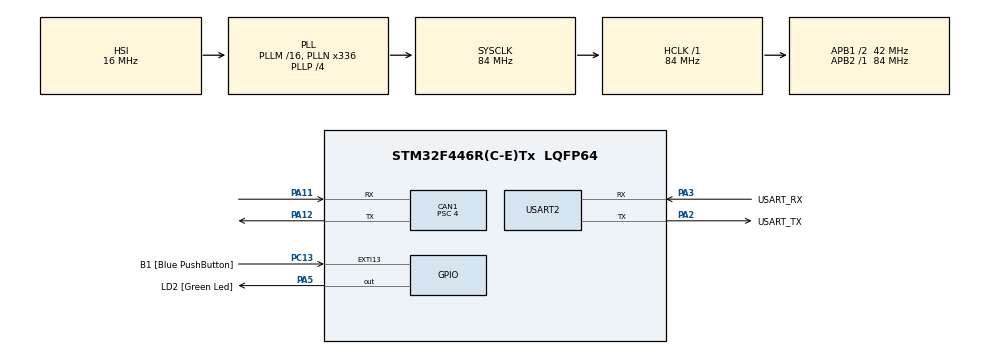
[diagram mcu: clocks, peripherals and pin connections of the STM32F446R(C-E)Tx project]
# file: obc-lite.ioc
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ADC1.Channel-0\#ChannelRegularConversion=ADC_CHANNEL_TEMPSENSOR
ADC1.Channel-1\#ChannelRegularConversion=ADC_CHANNEL_TEMPSENSOR
ADC1.EnableAnalogWatchDog=true
ADC1.ITMode=ENABLE
ADC1.NbrOfConversion=2
ADC1.NbrOfConversionFlag=1
ADC1.Rank-0\#ChannelRegularConversion=1
ADC1.Rank-1\#ChannelRegularConversion=2
ADC1.SamplingTime-0\#ChannelRegularConversion=ADC_SAMPLETIME_3CYCLES
ADC1.SamplingTime-1\#ChannelRegularConversion=ADC_SAMPLETIME_3CYCLES
ADC1.ScanConvMode=ENABLE
ADC1.WatchdogChannel=ADC_CHANNEL_TEMPSENSOR
ADC1.master=1
CAN1.BS1=CAN_BS1_16TQ
CAN1.BS2=CAN_BS2_4TQ
CAN1.CalculateBaudRate=500000
CAN1.CalculateTimeBit=2000
CAN1.CalculateTimeQuantum=95.23809523809524
CAN1.Mode=CAN_MODE_LOOPBACK
CAN1.Prescaler=4
Mcu.Family=STM32F4
Mcu.Name=STM32F446R(C-E)Tx
Mcu.Package=LQFP64
NVIC.CAN1_RX0_IRQn=true\:0\:0\:false\:false\:true\:true\:true\:true
NVIC.PriorityGroup=NVIC_PRIORITYGROUP_0
PA11.GPIO_PuPd=GPIO_PULLUP
PA11.Mode=CAN_Activate
PA11.Signal=CAN1_RX
PA12.Mode=CAN_Activate
PA12.Signal=CAN1_TX
PA13.GPIO_Label=TMS
PA13.Mode=Serial_Wire
PA13.Signal=SYS_JTMS-SWDIO
PA14.GPIO_Label=TCK
PA14.Mode=Serial_Wire
PA14.Signal=SYS_JTCK-SWCLK
PA2.GPIO_Label=USART_TX
PA2.Mode=Asynchronous
PA2.Signal=USART2_TX
PA3.GPIO_Label=USART_RX
PA3.Mode=Asynchronous
PA3.Signal=USART2_RX
PA5.GPIO_Label=LD2 [Green Led]
PA5.Signal=GPIO_Output
PB3.GPIO_Label=SWO
PB3.Signal=SYS_JTDO-SWO
PC13.GPIO_Label=B1 [Blue PushButton]
PC13.GPIO_ModeDefaultEXTI=GPIO_MODE_IT_FALLING
PC13.Signal=GPXTI13
PC14-OSC32_IN.Mode=LSE-External-Oscillator
PC14-OSC32_IN.Signal=RCC_OSC32_IN
PC15-OSC32_OUT.Mode=LSE-External-Oscillator
PC15-OSC32_OUT.Signal=RCC_OSC32_OUT
PH0-OSC_IN.Mode=HSE-External-Oscillator
PH0-OSC_IN.Signal=RCC_OSC_IN
PH1-OSC_OUT.Mode=HSE-External-Oscillator
PH1-OSC_OUT.Signal=RCC_OSC_OUT
ProjectManager.HeapSize=0x200
ProjectManager.StackSize=0x400
ProjectManager.TargetToolchain=STM32CubeIDE
RCC.48MHZClocksFreq_Value=84000000
RCC.AHBFreq_Value=84000000
RCC.APB1CLKDivider=RCC_HCLK_DIV2
RCC.APB1Freq_Value=42000000
RCC.APB1TimFreq_Value=84000000
RCC.APB2Freq_Value=84000000
RCC.APB2TimFreq_Value=84000000
RCC.CortexFreq_Value=84000000
RCC.FLatency-AdvancedSettings=FLASH_LATENCY_2
RCC.HCLKFreq_Value=84000000
RCC.HSE_VALUE=8000000
RCC.HSI_VALUE=16000000
RCC.PLLN=336
RCC.PLLP=RCC_PLLP_DIV4
RCC.SYSCLKFreq_VALUE=84000000
RCC.SYSCLKSource=RCC_SYSCLKSOURCE_PLLCLK
RCC.USBFreq_Value=168000000
RCC.VCOOutputFreq_Value=336000000
USART2.VirtualMode=VM_ASYNC
VP_ADC1_TempSens_Input.Mode=IN-TempSens
VP_ADC1_Vref_Input.Mode=IN-Vrefint
board=NUCLEO-F446RE

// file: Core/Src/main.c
/* USER CODE BEGIN Header */
/**
  ******************************************************************************
  * @file           : main.c
  * @brief          : Main program body
  ******************************************************************************
  * @attention
  *
  * Copyright (c) 2026 STMicroelectronics.
  * All rights reserved.
  *
  * This software is licensed under terms that can be found in the LICENSE file
  * in the root directory of this software component.
  * If no LICENSE file comes with this software, it is provided AS-IS.
  *
  ******************************************************************************
  */
/* USER CODE END Header */
#include "main.h"

/* USER CODE BEGIN Includes */
#include <stdio.h>
#include <string.h>
/* USER CODE END Includes */

ADC_HandleTypeDef hadc1;

CAN_HandleTypeDef hcan1;

UART_HandleTypeDef huart2;

/* USER CODE BEGIN PV */
CAN_TxHeaderTypeDef TxHeader; //Header containing the information of the transmitted frame
CAN_RxHeaderTypeDef RxHeader; //Header containing the information of the received frame
uint8_t TxData[8] = {0}; //buffer of data to send
uint8_t RxData[8]; //buffer of received data
uint32_t TxMailBox; //the number of mail boxes that transmitted the Tx message
/* USER CODE END PV */

void SystemClock_Config(void);
static void MX_GPIO_Init(void);
static void MX_USART2_UART_Init(void);
static void MX_ADC1_Init(void);
static void MX_CAN1_Init(void);

/* USER CODE BEGIN 0 */
//Parameters from STM32F446RE Datasheet
#define TEMP_AVG_SLOPE 0.0025
#define TEMP_V25 0.76
#define TEMP_VSENSE 3.3/4096

volatile uint16_t temperature_adc_value = 0;
volatile float temperature_in_c = 0.0;

void HAL_ADC_ConvCpltCallback(ADC_HandleTypeDef* hadc) {
	temperature_adc_value = HAL_ADC_GetValue(hadc);
	temperature_in_c = ((TEMP_VSENSE * temperature_adc_value - TEMP_V25) / TEMP_AVG_SLOPE) + 25;
	HAL_ADC_Start_IT(&hadc1);
}
/* USER CODE END 0 */

int main(void)
{

  /* MCU Configuration--------------------------------------------------------*/

  /* Reset of all peripherals, Initializes the Flash interface and the Systick. */
  HAL_Init();

  /* Configure the system clock */
  SystemClock_Config();

  /* Initialize all configured peripherals */
  MX_GPIO_Init();
  MX_USART2_UART_Init();
  MX_ADC1_Init();
  MX_CAN1_Init();
  /* USER CODE BEGIN 2 */
  TxHeader.StdId = 0x123;
  TxHeader.RTR = CAN_RTR_DATA;
  TxHeader.IDE = CAN_ID_STD;
  TxHeader.DLC = 8;
  TxHeader.TransmitGlobalTime = DISABLE;
  TxData[0] = 0;
  TxData[7] = 0xFF;
  if (HAL_ADC_Start_IT(&hadc1) != HAL_OK) {
    Error_Handler();
  }

  /* USER CODE END 2 */

  /* Infinite loop */
  /* USER CODE BEGIN WHILE */
//  char output_buffer[128] = {0};
  uint32_t print_tick = HAL_GetTick();
//
  while (1)
  {
//	  if (HAL_GetTick() - print_tick >= 1000) {
//		  sprintf(output_buffer, "temperature: %f\r\n", temperature_in_c);
//		  size_t size = strlen(output_buffer);
//		  HAL_UART_Transmit(&huart2, (uint8_t*)output_buffer, size, 1000);
//		  memset(output_buffer, 0, 128);
//		  print_tick = HAL_GetTick();
//	  }

	  if (HAL_GetTick() - print_tick >= 1000) {
		  TxData[0] = temperature_in_c;
		  while(HAL_CAN_GetTxMailboxesFreeLevel(&hcan1) == 0); //wait till Tx Mailbox is free
		  if (HAL_CAN_AddTxMessage(&hcan1, &TxHeader, TxData, &TxMailBox) != HAL_OK) {
		  		  Error_Handler();
		  	  }
		  print_tick = HAL_GetTick();
	  }

    /* USER CODE END WHILE */

  }
}

void SystemClock_Config(void)
{
  RCC_OscInitTypeDef RCC_OscInitStruct = {0};
  RCC_ClkInitTypeDef RCC_ClkInitStruct = {0};

  /** Configure the main internal regulator output voltage
  */
  __HAL_RCC_PWR_CLK_ENABLE();
  __HAL_PWR_VOLTAGESCALING_CONFIG(PWR_REGULATOR_VOLTAGE_SCALE3);

  /** Initializes the RCC Oscillators according to the specified parameters
  * in the RCC_OscInitTypeDef structure.
  */
  RCC_OscInitStruct.OscillatorType = RCC_OSCILLATORTYPE_HSI;
  RCC_OscInitStruct.HSIState = RCC_HSI_ON;
  RCC_OscInitStruct.HSICalibrationValue = RCC_HSICALIBRATION_DEFAULT;
  RCC_OscInitStruct.PLL.PLLState = RCC_PLL_ON;
  RCC_OscInitStruct.PLL.PLLSource = RCC_PLLSOURCE_HSI;
  RCC_OscInitStruct.PLL.PLLM = 16;
  RCC_OscInitStruct.PLL.PLLN = 336;
  RCC_OscInitStruct.PLL.PLLP = RCC_PLLP_DIV4;
  RCC_OscInitStruct.PLL.PLLQ = 2;
  RCC_OscInitStruct.PLL.PLLR = 2;
  if (HAL_RCC_OscConfig(&RCC_OscInitStruct) != HAL_OK)
  {
    Error_Handler();
  }

  /** Initializes the CPU, AHB and APB buses clocks
  */
  RCC_ClkInitStruct.ClockType = RCC_CLOCKTYPE_HCLK|RCC_CLOCKTYPE_SYSCLK
                              |RCC_CLOCKTYPE_PCLK1|RCC_CLOCKTYPE_PCLK2;
  RCC_ClkInitStruct.SYSCLKSource = RCC_SYSCLKSOURCE_PLLCLK;
  RCC_ClkInitStruct.AHBCLKDivider = RCC_SYSCLK_DIV1;
  RCC_ClkInitStruct.APB1CLKDivider = RCC_HCLK_DIV2;
  RCC_ClkInitStruct.APB2CLKDivider = RCC_HCLK_DIV1;

  if (HAL_RCC_ClockConfig(&RCC_ClkInitStruct, FLASH_LATENCY_2) != HAL_OK)
  {
    Error_Handler();
  }
}

static void MX_ADC1_Init(void)
{

  ADC_AnalogWDGConfTypeDef AnalogWDGConfig = {0};
  ADC_ChannelConfTypeDef sConfig = {0};

  /** Configure the global features of the ADC (Clock, Resolution, Data Alignment and number of conversion)
  */
  hadc1.Instance = ADC1;
  hadc1.Init.ClockPrescaler = ADC_CLOCK_SYNC_PCLK_DIV4;
  hadc1.Init.Resolution = ADC_RESOLUTION_12B;
  hadc1.Init.ScanConvMode = DISABLE;
  hadc1.Init.ContinuousConvMode = DISABLE;
  hadc1.Init.DiscontinuousConvMode = DISABLE;
  hadc1.Init.ExternalTrigConvEdge = ADC_EXTERNALTRIGCONVEDGE_NONE;
  hadc1.Init.ExternalTrigConv = ADC_SOFTWARE_START;
  hadc1.Init.DataAlign = ADC_DATAALIGN_RIGHT;
  hadc1.Init.NbrOfConversion = 1;
  hadc1.Init.DMAContinuousRequests = DISABLE;
  hadc1.Init.EOCSelection = ADC_EOC_SINGLE_CONV;
  if (HAL_ADC_Init(&hadc1) != HAL_OK)
  {
    Error_Handler();
  }

  /** Configure the analog watchdog
  */
  AnalogWDGConfig.WatchdogMode = ADC_ANALOGWATCHDOG_SINGLE_REG;
  AnalogWDGConfig.HighThreshold = 0;
  AnalogWDGConfig.LowThreshold = 0;
  AnalogWDGConfig.Channel = ADC_CHANNEL_TEMPSENSOR;
  AnalogWDGConfig.ITMode = ENABLE;
  if (HAL_ADC_AnalogWDGConfig(&hadc1, &AnalogWDGConfig) != HAL_OK)
  {
    Error_Handler();
  }

  /** Configure for the selected ADC regular channel its corresponding rank in the sequencer and its sample time.
  */
  sConfig.Channel = ADC_CHANNEL_TEMPSENSOR;
  sConfig.Rank = 1;
  sConfig.SamplingTime = ADC_SAMPLETIME_480CYCLES;
  if (HAL_ADC_ConfigChannel(&hadc1, &sConfig) != HAL_OK)
  {
    Error_Handler();
  }

}

static void MX_CAN1_Init(void)
{

  /* USER CODE BEGIN CAN1_Init 0 */
  CAN_FilterTypeDef sFilterConfig;
  /* USER CODE END CAN1_Init 0 */

  hcan1.Instance = CAN1;
  hcan1.Init.Prescaler = 4;
  hcan1.Init.Mode = CAN_MODE_LOOPBACK;
  hcan1.Init.SyncJumpWidth = CAN_SJW_1TQ;
  hcan1.Init.TimeSeg1 = CAN_BS1_16TQ;
  hcan1.Init.TimeSeg2 = CAN_BS2_4TQ;
  hcan1.Init.TimeTriggeredMode = DISABLE;
  hcan1.Init.AutoBusOff = DISABLE;
  hcan1.Init.AutoWakeUp = DISABLE;
  hcan1.Init.AutoRetransmission = DISABLE;
  hcan1.Init.ReceiveFifoLocked = DISABLE;
  hcan1.Init.TransmitFifoPriority = DISABLE;
  if (HAL_CAN_Init(&hcan1) != HAL_OK)
  {
    Error_Handler();
  }
  /* USER CODE BEGIN CAN1_Init 2 */
  /* The CAN filter configuration */
   sFilterConfig.FilterBank = 0;
   sFilterConfig.FilterMode = CAN_FILTERMODE_IDMASK;
   sFilterConfig.FilterScale = CAN_FILTERSCALE_32BIT;
   sFilterConfig.FilterIdHigh = 0x0000;
   sFilterConfig.FilterIdLow = 0x0000;
   sFilterConfig.FilterMaskIdHigh = 0x0000;
   sFilterConfig.FilterMaskIdLow = 0x0000;
   sFilterConfig.FilterFIFOAssignment = CAN_RX_FIFO0; /* The data will be received in FIFO0 */
   sFilterConfig.FilterActivation = ENABLE;
   sFilterConfig.SlaveStartFilterBank = 14;
   if (HAL_CAN_ConfigFilter(&hcan1, &sFilterConfig) != HAL_OK)
   {
   /* Filter configuration Error */
   Error_Handler();
   }
   /* Starting the CAN peripheral */
   if (HAL_CAN_Start(&hcan1) != HAL_OK)
   {
   /* Start Error */
   Error_Handler();
   }
   /* Activate CAN RX notification on FIFO0 */
   if (HAL_CAN_ActivateNotification(&hcan1, CAN_IT_RX_FIFO0_MSG_PENDING) != HAL_OK)
   {
   /* Notification Error */
   Error_Handler();
   }
  /* USER CODE END CAN1_Init 2 */

}

static void MX_USART2_UART_Init(void)
{

  huart2.Instance = USART2;
  huart2.Init.BaudRate = 115200;
  huart2.Init.WordLength = UART_WORDLENGTH_8B;
  huart2.Init.StopBits = UART_STOPBITS_1;
  huart2.Init.Parity = UART_PARITY_NONE;
  huart2.Init.Mode = UART_MODE_TX_RX;
  huart2.Init.HwFlowCtl = UART_HWCONTROL_NONE;
  huart2.Init.OverSampling = UART_OVERSAMPLING_16;
  if (HAL_UART_Init(&huart2) != HAL_OK)
  {
    Error_Handler();
  }

}

static void MX_GPIO_Init(void)
{
  GPIO_InitTypeDef GPIO_InitStruct = {0};

  /* GPIO Ports Clock Enable */
  __HAL_RCC_GPIOC_CLK_ENABLE();
  __HAL_RCC_GPIOH_CLK_ENABLE();
  __HAL_RCC_GPIOA_CLK_ENABLE();
  __HAL_RCC_GPIOB_CLK_ENABLE();

  /*Configure GPIO pin Output Level */
  HAL_GPIO_WritePin(LD2_GPIO_Port, LD2_Pin, GPIO_PIN_RESET);

  /*Configure GPIO pin : B1_Pin */
  GPIO_InitStruct.Pin = B1_Pin;
  GPIO_InitStruct.Mode = GPIO_MODE_IT_FALLING;
  GPIO_InitStruct.Pull = GPIO_NOPULL;
  HAL_GPIO_Init(B1_GPIO_Port, &GPIO_InitStruct);

  /*Configure GPIO pin : LD2_Pin */
  GPIO_InitStruct.Pin = LD2_Pin;
  GPIO_InitStruct.Mode = GPIO_MODE_OUTPUT_PP;
  GPIO_InitStruct.Pull = GPIO_NOPULL;
  GPIO_InitStruct.Speed = GPIO_SPEED_FREQ_LOW;
  HAL_GPIO_Init(LD2_GPIO_Port, &GPIO_InitStruct);

}

/* USER CODE BEGIN 4 */
void HAL_CAN_RxFifo0MsgPendingCallback(CAN_HandleTypeDef *CanHandle)
{
 /* Get RX message */
 if (HAL_CAN_GetRxMessage(CanHandle, CAN_RX_FIFO0, &RxHeader, RxData) != HAL_OK)
 {
 /* Reception Error */
 Error_Handler();
 }
}
/* USER CODE END 4 */

void Error_Handler(void)
{
  __disable_irq();
  while (1)
  {
  }
}
